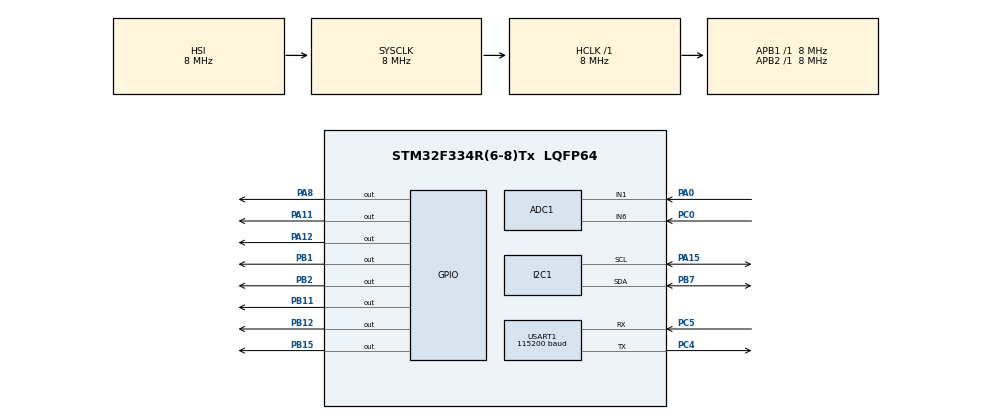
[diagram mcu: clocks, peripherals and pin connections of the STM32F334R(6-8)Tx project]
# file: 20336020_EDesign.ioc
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ADC1.Channel-0\#ChannelRegularConversion=ADC_CHANNEL_1
ADC1.Channel-1\#ChannelRegularConversion=ADC_CHANNEL_6
ADC1.ContinuousConvMode=ENABLE
ADC1.NbrOfConversion=2
ADC1.NbrOfConversionFlag=1
ADC1.Offset-0\#ChannelRegularConversion=0
ADC1.Offset-1\#ChannelRegularConversion=0
ADC1.OffsetNumber-0\#ChannelRegularConversion=ADC_OFFSET_NONE
ADC1.OffsetNumber-1\#ChannelRegularConversion=ADC_OFFSET_NONE
ADC1.Rank-0\#ChannelRegularConversion=1
ADC1.Rank-1\#ChannelRegularConversion=2
ADC1.SamplingTime-0\#ChannelRegularConversion=ADC_SAMPLETIME_601CYCLES_5
ADC1.SamplingTime-1\#ChannelRegularConversion=ADC_SAMPLETIME_601CYCLES_5
ADC1.SubFamily=STM32F334x8
ADC1.master=1
Mcu.Family=STM32F3
Mcu.Name=STM32F334R(6-8)Tx
Mcu.Package=LQFP64
NVIC.PriorityGroup=NVIC_PRIORITYGROUP_4
NVIC.TIM2_IRQn=true\:0\:0\:false\:false\:true\:true\:true
NVIC.USART1_IRQn=true\:0\:0\:false\:false\:true\:true\:true
PA0.Mode=IN1-Single-Ended
PA0.Signal=ADC1_IN1
PA11.Signal=GPIO_Output
PA12.Signal=GPIO_Output
PA15.Mode=I2C
PA15.Signal=I2C1_SCL
PA8.Signal=GPIO_Output
PB1.Signal=GPIO_Output
PB11.Signal=GPIO_Output
PB12.Signal=GPIO_Output
PB15.Signal=GPIO_Output
PB2.Signal=GPIO_Output
PB7.Mode=I2C
PB7.Signal=I2C1_SDA
PC0.Signal=ADCx_IN6
PC4.Mode=Asynchronous
PC4.Signal=USART1_TX
PC5.Mode=Asynchronous
PC5.Signal=USART1_RX
ProjectManager.HeapSize=0x200
ProjectManager.StackSize=0x400
ProjectManager.TargetToolchain=TrueSTUDIO
RCC.AHBFreq_Value=8000000
RCC.APB1Freq_Value=8000000
RCC.APB2Freq_Value=8000000
RCC.CortexFreq_Value=8000000
RCC.HSE_VALUE=8000000
RCC.HSI_VALUE=8000000
RCC.LSE_VALUE=32768
RCC.PLLMUL=RCC_PLL_MUL4
RCC.SYSCLKFreq_VALUE=8000000
SH.ADCx_IN6.0=ADC1_IN6,IN6-Single-Ended
TIM2.AutoReloadPreload=TIM_AUTORELOAD_PRELOAD_ENABLE
TIM2.ClockDivision=TIM_CLOCKDIVISION_DIV1
TIM2.Period=15625
TIM2.Prescaler=512
USART1.BaudRate=115200
USART1.VirtualMode-Asynchronous=VM_ASYNC
VP_TIM2_VS_ClockSourceINT.Mode=Internal
board=custom

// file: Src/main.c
/* USER CODE BEGIN Header */
/**
  ******************************************************************************
  * @file           : main.c
  * @brief          : Main program body
  ******************************************************************************
  * @attention
  *
  * <h2><center>&copy; Copyright (c) 2019 STMicroelectronics.
  * All rights reserved.</center></h2>
  *
  * This software component is licensed by ST under BSD 3-Clause license,
  * the "License"; You may not use this file except in compliance with the
  * License. You may obtain a copy of the License at:
  *                        opensource.org/licenses/BSD-3-Clause
  *
  ******************************************************************************
  */
/* USER CODE END Header */

#include "main.h"

/* USER CODE BEGIN Includes */
#include "MyFunc.h"
#include "bme280.h"
#include "lis2dh12_reg.h"
#include <math.h>
#include <stdio.h>
#include <stdlib.h>
/* USER CODE END Includes */

ADC_HandleTypeDef hadc1;

I2C_HandleTypeDef hi2c1;

TIM_HandleTypeDef htim2;

UART_HandleTypeDef huart1;

/* USER CODE BEGIN PV */
volatile uint8_t TimeOn;
char display[91];
extern volatile uint8_t flag;
volatile char GPSCo[120];
volatile uint8_t j = 0;
volatile char GPSTime[100] = "000000000000";
volatile char GPSLat[100] = "000000000000";
volatile double GPSLatF;
volatile char GPSLatS[100];
volatile char GPSLong[100] = "000000000000";
volatile double GPSLongF;
volatile char GPSLats[100];
volatile char GPSAlt[8] = "0";
volatile float GPSAltF;
extern volatile char tempbuf[];
int burnt = 0;
int bi = 0;
int BurnStart = 0;
int BurnCurrent = 0;
volatile double VMeas = 0;
volatile double CMeas = 0;
volatile int PollCnt = 0;
volatile int TickTime = 0;
volatile int TickTimePrev = 0;
volatile double VPrint = 0;
volatile double CPrint = 0;
volatile double VPro = 0;
volatile double CPro = 0;
volatile double VPrev = 0;
volatile double CPrev = 0;
volatile int RS;
volatile int RW;
volatile int DB7;
volatile int DB6;
volatile int DB5;
volatile int DB4;
volatile int Burn = 0;
volatile uint8_t GPSAltI = 0;
struct bme280_dev dev;
struct bme280_data comp_data;
volatile int8_t rslt = BME280_OK;
volatile int8_t BME_T = 0;
volatile double BME_P = 0;
volatile double BME_H = 0;
char BME_T_s[3];
volatile int8_t BME_T_I = 0;
axis3bit16_t data_raw_acceleration;
axis1bit16_t data_raw_temperature;
float acceleration_mg[3];
float temperature_degC;
uint8_t whoamI;
uint8_t tx_buffer[1000];
lis2dh12_ctx_t dev_ctx;
/* USER CODE END PV */

void SystemClock_Config(void);
static void MX_GPIO_Init(void);
static void MX_TIM2_Init(void);
static void MX_USART1_UART_Init(void);
static void MX_ADC1_Init(void);
static void MX_I2C1_Init(void);

int main(void)
{

  /* MCU Configuration--------------------------------------------------------*/

  /* Reset of all peripherals, Initializes the Flash interface and the Systick. */
  HAL_Init();

  /* USER CODE BEGIN Init */
  	  	  /*
  	  	  LCD_Write(1,0,0,1,0,1);
    	  LCD_Write(1,0,0,0,1,1);

    	  LCD_Write(1,0,0,1,0,0);
    	  LCD_Write(1,0,0,1,0,1);

    	  LCD_Write(1,0,0,1,0,0);
    	  LCD_Write(1,0,1,1,1,0);

    	  LCD_Write(1,0,0,1,0,0);
    	  LCD_Write(1,0,0,1,0,0);

    	  LCD_Write(0,0,1,1,0,0);
    	  LCD_Write(0,0,0,0,0,0);

    	  LCD_Write(1,0,0,1,0,0);
    	  LCD_Write(1,0,1,1,1,0);

    	  LCD_Write(1,0,0,1,0,1);
    	  LCD_Write(1,0,0,1,0,1);

    	  LCD_Write(1,0,0,1,0,0);
    	  LCD_Write(1,0,0,1,0,0);

    	  LCD_Write(1,0,0,1,0,0);
    	  LCD_Write(1,0,0,1,0,1);

    	  LCD_Write(1,0,0,1,0,1);
    	  LCD_Write(1,0,0,0,1,1);
    	  */
  /* USER CODE END Init */

  /* Configure the system clock */
  SystemClock_Config();

  /* Initialize all configured peripherals */
  MX_GPIO_Init();
  MX_TIM2_Init();
  MX_USART1_UART_Init();
  MX_ADC1_Init();
  MX_I2C1_Init();
  /* USER CODE BEGIN 2 */

  __HAL_TIM_ENABLE(&htim2);
  __HAL_TIM_ENABLE_IT(&htim2, TIM_IT_UPDATE);

  __HAL_UART_ENABLE_IT(&huart1, UART_IT_RXNE);
  HAL_ADC_Start (&hadc1);
  LCD_Init();
  Struct_Init();
  My_BME_Config();
  Accel_Init();
  /* USER CODE END 2 */

  /* Infinite loop */
  while (1)
  {

    /* USER CODE BEGIN 3 */
	  if (flag == 1) {

		  MyPrintFunc(TimeOn, GPSTime, GPSLatF, GPSLongF, GPSAltF, CPrint, VPrint, BME_T, BME_P, BME_H);
		  Get_BME_Data();
		  LCD_Conv(Burn);
		  Accel_Process();
		  flag = 0;

	  }

	  TickTime = HAL_GetTick();
	  if(TickTime >= TickTimePrev +  20) {
		  HAL_ADC_PollForConversion (&hadc1, 1000);
		  VMeas = HAL_ADC_GetValue (&hadc1);
		  HAL_ADC_PollForConversion (&hadc1, 1000);
		  CMeas = HAL_ADC_GetValue (&hadc1);
		  CVProcess(VMeas, CMeas);
		  TickTimePrev = TickTime;
	  }

	  if(tempbuf[j-2] == '\r' && tempbuf[j-1] == '\n')
	  {
		  if(tempbuf[1] == 'G' && tempbuf[2] == 'P' && tempbuf[3] == 'G' && tempbuf[4] == 'G' && tempbuf[5] == 'A') {
			  int y = j;
			  for (int x = 0; x < y; x++) {
				  GPSCo[x] = tempbuf[x];
				  tempbuf[x] = '0';
			  }
			  int check = MyCheckSum(GPSCo);
			  if (check) {
				  MyGPSTime(GPSCo);
			  }
			  if((burnt == 0) && (bi <= 5))
			  {
				  if((GPSAltF > 10000) && (GPSLongF < 17.976343 || GPSLongF > 18.9354)) {
					  bi++;
				  } else {
					  bi = 0;
				  }
				  if(bi >= 5) {
					  HAL_GPIO_WritePin(GPIOA, GPIO_PIN_8, GPIO_PIN_SET);
					  BurnStart = HAL_GetTick();
					  Burn = 1;
				  }
			  }
		  }
	  }
	BurnCurrent = HAL_GetTick();
	if( (BurnCurrent > (BurnStart + 10000)) && (BurnStart != 0) ) {
		HAL_GPIO_WritePin(GPIOA, GPIO_PIN_8, GPIO_PIN_RESET);
		burnt = 1;
		Burn = 0;
		BurnStart = 0;
	}
  }
  /* USER CODE END 3 */
}

void SystemClock_Config(void)
{
  RCC_OscInitTypeDef RCC_OscInitStruct = {0};
  RCC_ClkInitTypeDef RCC_ClkInitStruct = {0};
  RCC_PeriphCLKInitTypeDef PeriphClkInit = {0};

  /** Initializes the CPU, AHB and APB busses clocks
  */
  RCC_OscInitStruct.OscillatorType = RCC_OSCILLATORTYPE_HSI;
  RCC_OscInitStruct.HSIState = RCC_HSI_ON;
  RCC_OscInitStruct.HSICalibrationValue = RCC_HSICALIBRATION_DEFAULT;
  RCC_OscInitStruct.PLL.PLLState = RCC_PLL_ON;
  RCC_OscInitStruct.PLL.PLLSource = RCC_PLLSOURCE_HSI;
  RCC_OscInitStruct.PLL.PLLMUL = RCC_PLL_MUL4;
  if (HAL_RCC_OscConfig(&RCC_OscInitStruct) != HAL_OK)
  {
    Error_Handler();
  }
  /** Initializes the CPU, AHB and APB busses clocks
  */
  RCC_ClkInitStruct.ClockType = RCC_CLOCKTYPE_HCLK|RCC_CLOCKTYPE_SYSCLK
                              |RCC_CLOCKTYPE_PCLK1|RCC_CLOCKTYPE_PCLK2;
  RCC_ClkInitStruct.SYSCLKSource = RCC_SYSCLKSOURCE_HSI;
  RCC_ClkInitStruct.AHBCLKDivider = RCC_SYSCLK_DIV1;
  RCC_ClkInitStruct.APB1CLKDivider = RCC_HCLK_DIV1;
  RCC_ClkInitStruct.APB2CLKDivider = RCC_HCLK_DIV1;

  if (HAL_RCC_ClockConfig(&RCC_ClkInitStruct, FLASH_LATENCY_0) != HAL_OK)
  {
    Error_Handler();
  }
  PeriphClkInit.PeriphClockSelection = RCC_PERIPHCLK_USART1|RCC_PERIPHCLK_I2C1
                              |RCC_PERIPHCLK_ADC12;
  PeriphClkInit.Usart1ClockSelection = RCC_USART1CLKSOURCE_PCLK1;
  PeriphClkInit.Adc12ClockSelection = RCC_ADC12PLLCLK_DIV1;
  PeriphClkInit.I2c1ClockSelection = RCC_I2C1CLKSOURCE_HSI;
  if (HAL_RCCEx_PeriphCLKConfig(&PeriphClkInit) != HAL_OK)
  {
    Error_Handler();
  }
}

static void MX_ADC1_Init(void)
{

  ADC_MultiModeTypeDef multimode = {0};
  ADC_ChannelConfTypeDef sConfig = {0};

  /** Common config
  */
  hadc1.Instance = ADC1;
  hadc1.Init.ClockPrescaler = ADC_CLOCK_ASYNC_DIV1;
  hadc1.Init.Resolution = ADC_RESOLUTION_12B;
  hadc1.Init.ScanConvMode = ADC_SCAN_ENABLE;
  hadc1.Init.ContinuousConvMode = ENABLE;
  hadc1.Init.DiscontinuousConvMode = DISABLE;
  hadc1.Init.ExternalTrigConvEdge = ADC_EXTERNALTRIGCONVEDGE_NONE;
  hadc1.Init.ExternalTrigConv = ADC_SOFTWARE_START;
  hadc1.Init.DataAlign = ADC_DATAALIGN_RIGHT;
  hadc1.Init.NbrOfConversion = 2;
  hadc1.Init.DMAContinuousRequests = DISABLE;
  hadc1.Init.EOCSelection = ADC_EOC_SINGLE_CONV;
  hadc1.Init.LowPowerAutoWait = DISABLE;
  hadc1.Init.Overrun = ADC_OVR_DATA_OVERWRITTEN;
  if (HAL_ADC_Init(&hadc1) != HAL_OK)
  {
    Error_Handler();
  }
  /** Configure the ADC multi-mode
  */
  multimode.Mode = ADC_MODE_INDEPENDENT;
  if (HAL_ADCEx_MultiModeConfigChannel(&hadc1, &multimode) != HAL_OK)
  {
    Error_Handler();
  }
  /** Configure Regular Channel
  */
  sConfig.Channel = ADC_CHANNEL_1;
  sConfig.Rank = ADC_REGULAR_RANK_1;
  sConfig.SingleDiff = ADC_SINGLE_ENDED;
  sConfig.SamplingTime = ADC_SAMPLETIME_601CYCLES_5;
  sConfig.OffsetNumber = ADC_OFFSET_NONE;
  sConfig.Offset = 0;
  if (HAL_ADC_ConfigChannel(&hadc1, &sConfig) != HAL_OK)
  {
    Error_Handler();
  }
  /** Configure Regular Channel
  */
  sConfig.Channel = ADC_CHANNEL_6;
  sConfig.Rank = ADC_REGULAR_RANK_2;
  if (HAL_ADC_ConfigChannel(&hadc1, &sConfig) != HAL_OK)
  {
    Error_Handler();
  }

}

static void MX_I2C1_Init(void)
{

  hi2c1.Instance = I2C1;
  hi2c1.Init.Timing = 0x2000090E;
  hi2c1.Init.OwnAddress1 = 0;
  hi2c1.Init.AddressingMode = I2C_ADDRESSINGMODE_7BIT;
  hi2c1.Init.DualAddressMode = I2C_DUALADDRESS_DISABLE;
  hi2c1.Init.OwnAddress2 = 0;
  hi2c1.Init.OwnAddress2Masks = I2C_OA2_NOMASK;
  hi2c1.Init.GeneralCallMode = I2C_GENERALCALL_DISABLE;
  hi2c1.Init.NoStretchMode = I2C_NOSTRETCH_DISABLE;
  if (HAL_I2C_Init(&hi2c1) != HAL_OK)
  {
    Error_Handler();
  }
  /** Configure Analogue filter
  */
  if (HAL_I2CEx_ConfigAnalogFilter(&hi2c1, I2C_ANALOGFILTER_ENABLE) != HAL_OK)
  {
    Error_Handler();
  }
  /** Configure Digital filter
  */
  if (HAL_I2CEx_ConfigDigitalFilter(&hi2c1, 0) != HAL_OK)
  {
    Error_Handler();
  }

}

static void MX_TIM2_Init(void)
{

  TIM_ClockConfigTypeDef sClockSourceConfig = {0};
  TIM_MasterConfigTypeDef sMasterConfig = {0};

  htim2.Instance = TIM2;
  htim2.Init.Prescaler = 512;
  htim2.Init.CounterMode = TIM_COUNTERMODE_UP;
  htim2.Init.Period = 15625;
  htim2.Init.ClockDivision = TIM_CLOCKDIVISION_DIV1;
  htim2.Init.AutoReloadPreload = TIM_AUTORELOAD_PRELOAD_ENABLE;
  if (HAL_TIM_Base_Init(&htim2) != HAL_OK)
  {
    Error_Handler();
  }
  sClockSourceConfig.ClockSource = TIM_CLOCKSOURCE_INTERNAL;
  if (HAL_TIM_ConfigClockSource(&htim2, &sClockSourceConfig) != HAL_OK)
  {
    Error_Handler();
  }
  sMasterConfig.MasterOutputTrigger = TIM_TRGO_RESET;
  sMasterConfig.MasterSlaveMode = TIM_MASTERSLAVEMODE_DISABLE;
  if (HAL_TIMEx_MasterConfigSynchronization(&htim2, &sMasterConfig) != HAL_OK)
  {
    Error_Handler();
  }

}

static void MX_USART1_UART_Init(void)
{

  huart1.Instance = USART1;
  huart1.Init.BaudRate = 115200;
  huart1.Init.WordLength = UART_WORDLENGTH_8B;
  huart1.Init.StopBits = UART_STOPBITS_1;
  huart1.Init.Parity = UART_PARITY_NONE;
  huart1.Init.Mode = UART_MODE_TX_RX;
  huart1.Init.HwFlowCtl = UART_HWCONTROL_NONE;
  huart1.Init.OverSampling = UART_OVERSAMPLING_16;
  huart1.Init.OneBitSampling = UART_ONE_BIT_SAMPLE_DISABLE;
  huart1.AdvancedInit.AdvFeatureInit = UART_ADVFEATURE_NO_INIT;
  if (HAL_UART_Init(&huart1) != HAL_OK)
  {
    Error_Handler();
  }

}

static void MX_GPIO_Init(void)
{
  GPIO_InitTypeDef GPIO_InitStruct = {0};

  /* GPIO Ports Clock Enable */
  __HAL_RCC_GPIOC_CLK_ENABLE();
  __HAL_RCC_GPIOA_CLK_ENABLE();
  __HAL_RCC_GPIOB_CLK_ENABLE();

  /*Configure GPIO pin Output Level */
  HAL_GPIO_WritePin(GPIOB, GPIO_PIN_1|GPIO_PIN_2|GPIO_PIN_11|GPIO_PIN_12
                          |GPIO_PIN_15, GPIO_PIN_RESET);

  /*Configure GPIO pin Output Level */
  HAL_GPIO_WritePin(GPIOA, GPIO_PIN_8|GPIO_PIN_11|GPIO_PIN_12, GPIO_PIN_RESET);

  /*Configure GPIO pins : PB1 PB2 PB11 PB12
                           PB15 */
  GPIO_InitStruct.Pin = GPIO_PIN_1|GPIO_PIN_2|GPIO_PIN_11|GPIO_PIN_12
                          |GPIO_PIN_15;
  GPIO_InitStruct.Mode = GPIO_MODE_OUTPUT_PP;
  GPIO_InitStruct.Pull = GPIO_NOPULL;
  GPIO_InitStruct.Speed = GPIO_SPEED_FREQ_LOW;
  HAL_GPIO_Init(GPIOB, &GPIO_InitStruct);

  /*Configure GPIO pins : PA8 PA11 PA12 */
  GPIO_InitStruct.Pin = GPIO_PIN_8|GPIO_PIN_11|GPIO_PIN_12;
  GPIO_InitStruct.Mode = GPIO_MODE_OUTPUT_PP;
  GPIO_InitStruct.Pull = GPIO_NOPULL;
  GPIO_InitStruct.Speed = GPIO_SPEED_FREQ_LOW;
  HAL_GPIO_Init(GPIOA, &GPIO_InitStruct);

}

void Error_Handler(void)
{
}

/************************ (C) COPYRIGHT STMicroelectronics *****END OF FILE****/
